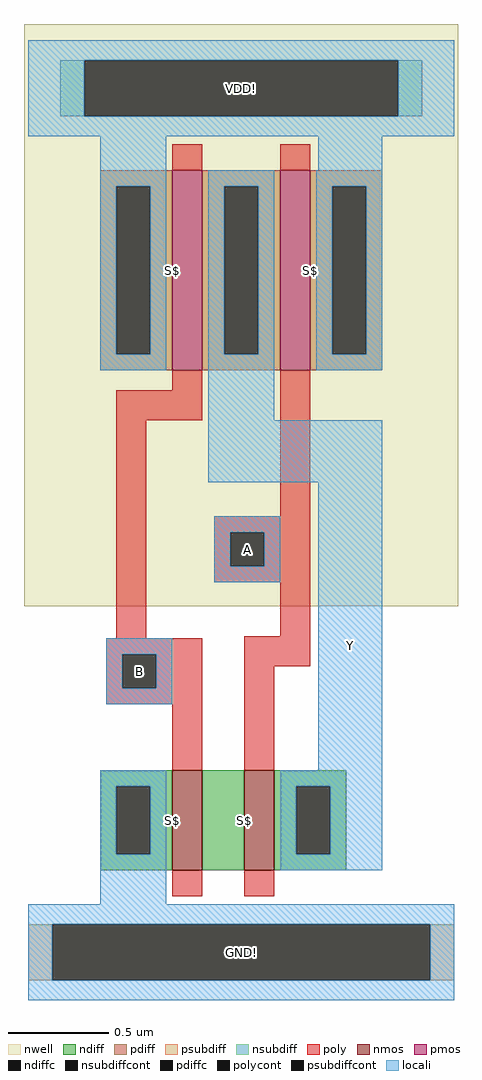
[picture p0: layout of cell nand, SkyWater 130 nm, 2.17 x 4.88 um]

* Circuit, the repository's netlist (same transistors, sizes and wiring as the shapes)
* NGSPICE file created from nand.ext - technology: sky130A

.subckt nand VDD GND A Y B
X0 a_174_130# B GND GND sky130_fd_pr__nfet_01v8 ad=0.0525 pd=0.71 as=0.18 ps=1.72 w=0.5 l=0.15
X1 Y B VDD VDD sky130_fd_pr__pfet_01v8 ad=0.195 pd=1.39 as=0.36 ps=2.72 w=1 l=0.15
X2 VDD A Y VDD sky130_fd_pr__pfet_01v8 ad=0.36 pd=2.72 as=0.195 ps=1.39 w=1 l=0.15
X3 Y A a_174_130# GND sky130_fd_pr__nfet_01v8 ad=0.18 pd=1.72 as=0.0525 ps=0.71 w=0.5 l=0.15
.ends

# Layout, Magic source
magic
tech sky130A
<< nwell >>
rect -2 197 215 488
<< nmos >>
rect 72 65 87 115
rect 108 65 123 115
<< pmos >>
rect 72 315 87 415
rect 126 315 141 415
<< ndiff >>
rect 36 107 72 115
rect 36 73 44 107
rect 61 73 72 107
rect 36 65 72 73
rect 87 65 108 115
rect 123 107 159 115
rect 123 73 134 107
rect 151 73 159 107
rect 123 65 159 73
<< pdiff >>
rect 36 407 72 415
rect 36 323 44 407
rect 61 323 72 407
rect 36 315 72 323
rect 87 407 126 415
rect 87 323 98 407
rect 115 323 126 407
rect 87 315 126 323
rect 141 407 177 415
rect 141 323 152 407
rect 169 323 177 407
rect 141 315 177 323
<< ndiffc >>
rect 44 73 61 107
rect 134 73 151 107
<< pdiffc >>
rect 44 323 61 407
rect 98 323 115 407
rect 152 323 169 407
<< psubdiff >>
rect 0 10 12 38
rect 201 10 213 38
<< nsubdiff >>
rect 16 442 28 470
rect 185 442 197 470
<< psubdiffcont >>
rect 12 10 201 38
<< nsubdiffcont >>
rect 28 442 185 470
<< poly >>
rect 72 415 87 428
rect 126 415 141 428
rect 72 305 87 315
rect 44 290 87 305
rect 44 181 59 290
rect 126 242 141 315
rect 93 234 141 242
rect 93 217 101 234
rect 118 217 141 234
rect 93 209 141 217
rect 126 182 141 209
rect 39 173 87 181
rect 39 156 47 173
rect 64 156 87 173
rect 39 148 87 156
rect 72 115 87 148
rect 108 167 141 182
rect 108 115 123 167
rect 72 52 87 65
rect 108 52 123 65
<< polycont >>
rect 101 217 118 234
rect 47 156 64 173
<< locali >>
rect 0 470 213 480
rect 0 442 28 470
rect 185 442 213 470
rect 0 432 213 442
rect 36 407 69 432
rect 145 415 177 432
rect 36 323 44 407
rect 61 323 69 407
rect 36 315 69 323
rect 90 407 123 415
rect 90 323 98 407
rect 115 323 123 407
rect 90 290 123 323
rect 144 407 177 415
rect 144 323 152 407
rect 169 323 177 407
rect 144 315 177 323
rect 90 259 177 290
rect 93 234 126 242
rect 93 217 101 234
rect 118 217 126 234
rect 93 209 126 217
rect 39 173 72 181
rect 39 156 47 173
rect 64 156 72 173
rect 39 148 72 156
rect 145 115 177 259
rect 36 107 69 115
rect 36 73 44 107
rect 61 73 69 107
rect 36 48 69 73
rect 126 107 177 115
rect 126 73 134 107
rect 151 73 177 107
rect 126 65 177 73
rect 0 38 213 48
rect 0 10 12 38
rect 201 10 213 38
rect 0 0 213 10
<< labels >>
flabel ndiff 72 90 72 90 1 FreeSerif 8 0 0 0 S$
flabel pdiff 72 365 72 365 1 FreeSerif 8 0 0 0 S$
flabel ndiff 108 90 108 90 1 FreeSerif 8 0 0 0 S$
flabel locali 93 209 126 242 0 FreeSerif 80 0 0 0 A
port 4 nsew
flabel pdiff 141 365 141 365 1 FreeSerif 8 0 0 0 S$
flabel locali 39 148 72 181 0 FreeSerif 80 0 0 0 B
port 8 nsew
flabel locali 0 432 213 480 0 FreeSerif 80 0 0 0 VDD!
port 2 nsew
flabel locali 145 65 177 290 0 FreeSerif 80 0 0 0 Y
port 5 nsew
flabel locali 0 0 213 48 0 FreeSerif 80 0 0 0 GND!
port 3 nsew
<< end >>
